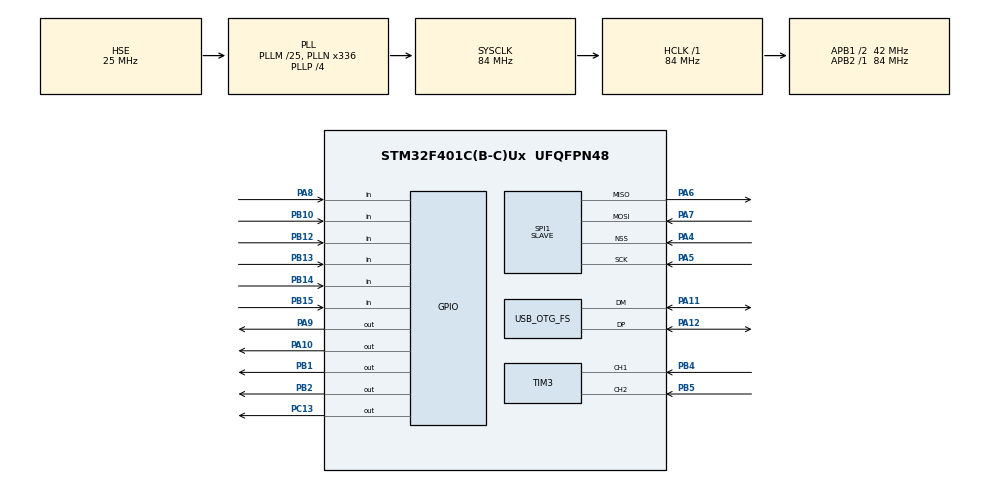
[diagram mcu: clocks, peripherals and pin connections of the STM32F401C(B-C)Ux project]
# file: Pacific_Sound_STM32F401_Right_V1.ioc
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Mcu.Family=STM32F4
Mcu.Name=STM32F401C(B-C)Ux
Mcu.Package=UFQFPN48
NVIC.OTG_FS_IRQn=true\:0\:0\:false\:false\:true\:false\:true
NVIC.PriorityGroup=NVIC_PRIORITYGROUP_4
NVIC.TIM3_IRQn=true\:0\:0\:false\:false\:true\:true\:true
PA10.Signal=GPIO_Output
PA11.Mode=Device_Only
PA11.Signal=USB_OTG_FS_DM
PA12.Mode=Device_Only
PA12.Signal=USB_OTG_FS_DP
PA4.Mode=NSS_Signal_Hard_Input
PA4.Signal=SPI1_NSS
PA5.Mode=Full_Duplex_Slave
PA5.Signal=SPI1_SCK
PA6.Mode=Full_Duplex_Slave
PA6.Signal=SPI1_MISO
PA7.Mode=Full_Duplex_Slave
PA7.Signal=SPI1_MOSI
PA8.GPIO_PuPd=GPIO_PULLUP
PA8.Signal=GPIO_Input
PA9.Signal=GPIO_Output
PB1.Signal=GPIO_Output
PB10.GPIO_PuPd=GPIO_PULLUP
PB10.Signal=GPIO_Input
PB12.GPIO_PuPd=GPIO_PULLUP
PB12.Signal=GPIO_Input
PB13.GPIO_PuPd=GPIO_PULLUP
PB13.Signal=GPIO_Input
PB14.GPIO_PuPd=GPIO_PULLUP
PB14.Signal=GPIO_Input
PB15.GPIO_PuPd=GPIO_PULLUP
PB15.Signal=GPIO_Input
PB2.Signal=GPIO_Output
PB4.GPIO_PuPd=GPIO_PULLUP
PB4.Signal=S_TIM3_CH1
PB5.GPIO_PuPd=GPIO_PULLUP
PB5.Signal=S_TIM3_CH2
PC13-ANTI_TAMP.Signal=GPIO_Output
PC14-OSC32_IN.Mode=LSE-External-Oscillator
PC14-OSC32_IN.Signal=RCC_OSC32_IN
PC15-OSC32_OUT.Mode=LSE-External-Oscillator
PC15-OSC32_OUT.Signal=RCC_OSC32_OUT
PH0\ -\ OSC_IN.Mode=HSE-External-Oscillator
PH0\ -\ OSC_IN.Signal=RCC_OSC_IN
PH1\ -\ OSC_OUT.Mode=HSE-External-Oscillator
PH1\ -\ OSC_OUT.Signal=RCC_OSC_OUT
ProjectManager.HeapSize=0x200
ProjectManager.StackSize=0x400
ProjectManager.TargetToolchain=STM32CubeIDE
RCC.48MHZClocksFreq_Value=48000000
RCC.AHBFreq_Value=84000000
RCC.APB1CLKDivider=RCC_HCLK_DIV2
RCC.APB1Freq_Value=42000000
RCC.APB1TimFreq_Value=84000000
RCC.APB2Freq_Value=84000000
RCC.APB2TimFreq_Value=84000000
RCC.CortexFreq_Value=84000000
RCC.HCLKFreq_Value=84000000
RCC.HSE_VALUE=25000000
RCC.HSI_VALUE=16000000
RCC.PLLM=25
RCC.PLLN=336
RCC.PLLP=RCC_PLLP_DIV4
RCC.PLLQ=7
RCC.SYSCLKFreq_VALUE=84000000
RCC.SYSCLKSource=RCC_SYSCLKSOURCE_PLLCLK
RCC.VCOOutputFreq_Value=336000000
SH.S_TIM3_CH1.0=TIM3_CH1,Encoder_Interface
SH.S_TIM3_CH2.0=TIM3_CH2,Encoder_Interface
SPI1.Direction=SPI_DIRECTION_2LINES
SPI1.Mode=SPI_MODE_SLAVE
SPI1.VirtualNSS=VM_NSSHARD
SPI1.VirtualType=VM_SLAVE
TIM3.EncoderMode=TIM_ENCODERMODE_TI12
TIM3.IC1Filter=15
TIM3.IC1Prescaler=TIM_ICPSC_DIV1
TIM3.IC2Filter=15
TIM3.IC2Prescaler=TIM_ICPSC_DIV1
USB_DEVICE.CLASS_NAME_FS=HID
USB_DEVICE.PID_HID_FS=22316
USB_DEVICE.VirtualMode=Hid
USB_DEVICE.VirtualModeFS=Hid_FS
USB_OTG_FS.VirtualMode=Device_Only
VP_USB_DEVICE_VS_USB_DEVICE_HID_FS.Mode=HID_FS
board=custom

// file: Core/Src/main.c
/* USER CODE BEGIN Header */
/**
  ******************************************************************************
  * @file           : main.c
  * @brief          : Main program body
  ******************************************************************************
  * @attention
  *
  * <h2><center>&copy; Copyright (c) 2022 STMicroelectronics.
  * All rights reserved.</center></h2>
  *
  * This software component is licensed by ST under Ultimate Liberty license
  * SLA0044, the "License"; You may not use this file except in compliance with
  * the License. You may obtain a copy of the License at:
  *                             www.st.com/SLA0044
  *
  ******************************************************************************
  */
/* USER CODE END Header */
#include "main.h"
#include "usb_device.h"

/* USER CODE BEGIN Includes */
#include "usbd_hid.h"

/* USER CODE END Includes */

SPI_HandleTypeDef hspi1;

TIM_HandleTypeDef htim3;

/* USER CODE BEGIN PV */

//Storage for the encoder values. Counter 1 is the previous value
//Counter 2 is the present value. The enc1 count is incremented by the
// difference between counter 2 and counter 1 (can be negative).
uint32_t enc1_counter1 = 0x0;
uint32_t enc1_counter2 = 0x0;
int32_t enc1_count = 0x0;
//The encoder count will define how many key presses to send to the computer
//The MCU loop happens faster than the computer polling so there must be a delay.
//The key press is sent until the count increments up to the delay. Then the
//key release is also sent for enough times for the count to increment to 2x the
//delay
const uint16_t enc1_delay = 200;
const uint8_t enc_scaling = 2;
uint16_t enc_hold_count=0x0;

const uint16_t debounce = 10;

// This index is to be passed during the column and row scanning to keep track
// of which key is being checked
uint8_t vect_ind = 0x0;

// Initialize a vector for the keyboard
// This is the storage for how many cycles a key is logged as connected.
// This will be checked against the debounce count in order to determine that
// a key should be considered to be pressed.
uint16_t kb_count_vect[22]={0x0};

/* USER CODE END PV */

void SystemClock_Config(void);
static void MX_GPIO_Init(void);
static void MX_SPI1_Init(void);
static void MX_TIM3_Init(void);

/* USER CODE BEGIN 0 */

void HAL_TIM_IC_CaptureCallback(TIM_HandleTypeDef *htim){

	//Update the counter2 value.
	//this value will be compared against counter1 and if it is
	//different then the delta will be used to send keycodes for the
	//encoder and then counter1 will be sent to counter2 after the
	//the codes are sent

	// This callback function is triggered whenever there
	// is a change in the encoder value. There is no need to
	// poll the encoder.
	enc1_counter2 = __HAL_TIM_GET_COUNTER(htim);

}

void scan_cols(uint8_t row)
{

	// Row specified by rowInd is toggled. Scan through columns to check it any column is pulled low
	// diodes go from column to row. Rows are set low to toggle. Columns have a pull-up on to set them
	// high when there is no connection.

	//Check column 1
	if(HAL_GPIO_ReadPin(GPIOA,GPIO_PIN_8)!=GPIO_PIN_SET){
		kb_count_vect[vect_ind]+=1;
	}
	else{
		kb_count_vect[vect_ind]=0;
	}
	vect_ind+=1;

	//Check column 2
	if(HAL_GPIO_ReadPin(GPIOB,GPIO_PIN_10)!=GPIO_PIN_SET){
		kb_count_vect[vect_ind]+=1;
	}
	else{
		kb_count_vect[vect_ind]=0;
	}
	vect_ind+=1;

	//Check column 3
	if(HAL_GPIO_ReadPin(GPIOB,GPIO_PIN_15)!=GPIO_PIN_SET){
		kb_count_vect[vect_ind]+=1;
	}
	else{
		kb_count_vect[vect_ind]=0;
	}
	vect_ind+=1;

	//Check column 4
	if(HAL_GPIO_ReadPin(GPIOB,GPIO_PIN_14)!=GPIO_PIN_SET){
		kb_count_vect[vect_ind]+=1;
	}
	else{
		kb_count_vect[vect_ind]=0;
	}
	vect_ind+=1;

	// Row 3 only has 4 key spots so no need to check pin B12 or in B13 (Col 5 or Col 6)
	if(row<3){
		//Check column 5
		if(HAL_GPIO_ReadPin(GPIOB,GPIO_PIN_13)!=GPIO_PIN_SET){
			kb_count_vect[vect_ind]+=1;
		}
		else{
			kb_count_vect[vect_ind]=0;
		}
		vect_ind+=1;

		//Check column 6
		if(HAL_GPIO_ReadPin(GPIOB,GPIO_PIN_12)!=GPIO_PIN_SET){
			kb_count_vect[vect_ind]+=1;
		}
		else{
			kb_count_vect[vect_ind]=0;
		}
		vect_ind+=1;
	}

}

void scan_matrix(void)
{
	vect_ind = 0x0;
	// Key switch detection...
	// Trigger row 1 and scan columns
	HAL_GPIO_WritePin(GPIOB,GPIO_PIN_2,0);
	scan_cols(0);
	HAL_GPIO_WritePin(GPIOB,GPIO_PIN_2,1);

	// Trigger row 2 and scan columns
	HAL_GPIO_WritePin(GPIOA,GPIO_PIN_9,0);
	scan_cols(1);
	HAL_GPIO_WritePin(GPIOA,GPIO_PIN_9,1);

	// Trigger row 3 and scan columns
	HAL_GPIO_WritePin(GPIOB,GPIO_PIN_1,0);
	scan_cols(2);
	HAL_GPIO_WritePin(GPIOB,GPIO_PIN_1,1);

	// Trigger row 4 and scan columns
	HAL_GPIO_WritePin(GPIOA,GPIO_PIN_10,0);
	scan_cols(3);
	HAL_GPIO_WritePin(GPIOA,GPIO_PIN_10,1);

}

void update_keys(uint8_t *kbSPI_tx, uint8_t n_kbSPI){

	// The indices of the vector are sent instead of the keycodes.
	// This will allow the half that is connected to the computer
	// to interpret the keys (use layers etc.)
	//
	// In this function any key that has a count greater than
	// the debounce count will be considered to be a valid key press.
	// It will be added to the vector of indices that is keeping track
	// of which keys are pressed. This vector is limited in size to
	// 8 keys at once (8 keys per half maximum).
	// Even though this is larger than the number of key codes that can
	// be sent it seemed okay to have a little more space for keys
	// and then down select when the vectors are interpreted into
	// keycodes.
	// There is no rollover of keys (keys are not stored for future transmission
	// if there are too many keys pressed).

	uint8_t kb_ind;
	uint8_t ii;

	int32_t enc_delta;

	for( kb_ind=0; kb_ind<8; ++kb_ind){
		kbSPI_tx[kb_ind] = 0x0;
	}

	kb_ind=0;

	for( ii = 0; ii < 22; ++ii ){
		if(kb_count_vect[ii]>debounce){
			kb_count_vect[ii]=debounce+1; //prevent overrun of uint16 values
			// if there is space in the vector append the key
			if(kb_ind<8){
				kbSPI_tx[kb_ind]=ii+1;
				++kb_ind;
			}
		}
	}

	// Interpret the encoder signal if the value has changed.
	// The previous encoder value is stored in counter1 and the updated
	// values is in counter2. The difference is how many positions the
	// encoder has moved. The encoder wraps around at 65535 (only has values
	// from 0 to 65535) so if a value that is greater or less than a reasonable
	// delta is detected it means the encoder has gone lower than zero or
	// higher than 65535. So that number should be added or subtracted from
	// the delta.

	// In order to dampen the response the delta is divided by a scaling value.
	// This dampened delta is added to an encoder count that can be negative
	// or positive. This count is then used to sequentially add key indices
	// (either 23 or 24) to the vector of indices until the count returns back to zero.
	if(enc1_counter2!=enc1_counter1){
		enc_delta=(enc1_counter2-enc1_counter1);
		if(enc_delta>65000){
			enc_delta = enc_delta-65535;
		}
		else if(enc_delta<-65000){
			enc_delta = enc_delta+65536;
		}
		enc1_counter1=enc1_counter2;
		enc1_count = enc1_count+enc_delta/enc_scaling;
	}

	// If there is space in the vector of keycodes and the encoder count
	// is not zero then add the indice 23 or 24 to the set of key indices
	// This indice is held on for the number of cycles in enc1_delay and
	// then held off for the same number of cycles. If the code is turned
	// on and off too fast the computer will not interpret it so this
	// delay is necessary. Too long of a value for enc1_delay and the
	// encoder values will back up and the response will seem sluggish.
	// Too small of a value and the encoder key presses will not be
	// registered by the computer.
	if(kb_ind<n_kbSPI){
		if(enc1_count!=0){
			if(enc_hold_count<enc1_delay){
				++enc_hold_count;
				if(enc1_count<0){
					kbSPI_tx[kb_ind]=23;
					++kb_ind;
				}
				else{
					kbSPI_tx[kb_ind]=24;
					++kb_ind;
				}
			}
			else if(enc_hold_count<(enc1_delay+enc1_delay)){
				++enc_hold_count;

			}
			else{
				if(enc1_count<0){
					++enc1_count;
				}
				else{
					--enc1_count;
				}
				enc_hold_count=0x0;
			}

		}

	}

}

/* USER CODE END 0 */

int main(void)
{
  /* USER CODE BEGIN 1 */

  // Storage for the number of key indices for each half (tx and rx) and
  // the indices themselves.
  uint8_t n_kbSPI = 8;
  uint8_t kbSPI_tx[8]={0x0};
  uint8_t kbSPI_rx[8]={0x0}; // Unused as of now. If I want to allow for plugging in the USB to the right half this will be necessary.

  /* USER CODE END 1 */

  /* MCU Configuration--------------------------------------------------------*/

  /* Reset of all peripherals, Initializes the Flash interface and the Systick. */
  HAL_Init();

  /* Configure the system clock */
  SystemClock_Config();

  /* Initialize all configured peripherals */
  MX_GPIO_Init();
  MX_SPI1_Init();
  MX_TIM3_Init();
  MX_USB_DEVICE_Init();
  /* USER CODE BEGIN 2 */

  // Start the encoder timer interrupt
  HAL_TIM_Encoder_Start_IT(&htim3, TIM_CHANNEL_ALL);

  // Initialize all GPIO Output pins (rows) to 1
  // keys are interpreted as being pressed when
  // a row is set to low and the corresponding column
  // is detected as low. All columns have pullup
  // resistors enabled in the MCU so that they normally
  // detect high and are only pulled low by a key press
  // when the corresponding row is low.
  HAL_GPIO_WritePin(GPIOA,GPIO_PIN_9,1);
  HAL_GPIO_WritePin(GPIOA,GPIO_PIN_10,1);
  HAL_GPIO_WritePin(GPIOB,GPIO_PIN_1,1);
  HAL_GPIO_WritePin(GPIOB,GPIO_PIN_2,1);

  /* USER CODE END 2 */

  /* Infinite loop */
  while (1)
  {

    /* USER CODE BEGIN 3 */

    // Scan the matrix and increment the vector of keys for any
    // key that has been pressed. If a column is not pulled low
    // reset the count to zero for the corresponding key.
    scan_matrix();

	//HAL_GPIO_WritePin(GPIOC,GPIO_PIN_13,0);  // this just turns on the blue LED.

	// Update the vector of keys that are considered to be pressed
	// each number in the vector corresponds to the switch that is pressed
	update_keys(kbSPI_tx,n_kbSPI);

	// Send the data of the keys that are pressed on the other half.
	// This is a blocking function so it will wait for data to be sent.
	// This will also serve to regulate the loop execution timing of
	// this half since it likely will happen faster.
    HAL_SPI_Transmit(&hspi1,kbSPI_tx,8,10000);

    // Turn off the blue LED light on the development board
    HAL_GPIO_WritePin(GPIOC,GPIO_PIN_13,1);

  }
  /* USER CODE END 3 */
}

void SystemClock_Config(void)
{
  RCC_OscInitTypeDef RCC_OscInitStruct = {0};
  RCC_ClkInitTypeDef RCC_ClkInitStruct = {0};

  /** Configure the main internal regulator output voltage
  */
  __HAL_RCC_PWR_CLK_ENABLE();
  __HAL_PWR_VOLTAGESCALING_CONFIG(PWR_REGULATOR_VOLTAGE_SCALE2);
  /** Initializes the RCC Oscillators according to the specified parameters
  * in the RCC_OscInitTypeDef structure.
  */
  RCC_OscInitStruct.OscillatorType = RCC_OSCILLATORTYPE_HSE;
  RCC_OscInitStruct.HSEState = RCC_HSE_ON;
  RCC_OscInitStruct.PLL.PLLState = RCC_PLL_ON;
  RCC_OscInitStruct.PLL.PLLSource = RCC_PLLSOURCE_HSE;
  RCC_OscInitStruct.PLL.PLLM = 25;
  RCC_OscInitStruct.PLL.PLLN = 336;
  RCC_OscInitStruct.PLL.PLLP = RCC_PLLP_DIV4;
  RCC_OscInitStruct.PLL.PLLQ = 7;
  if (HAL_RCC_OscConfig(&RCC_OscInitStruct) != HAL_OK)
  {
    Error_Handler();
  }
  /** Initializes the CPU, AHB and APB buses clocks
  */
  RCC_ClkInitStruct.ClockType = RCC_CLOCKTYPE_HCLK|RCC_CLOCKTYPE_SYSCLK
                              |RCC_CLOCKTYPE_PCLK1|RCC_CLOCKTYPE_PCLK2;
  RCC_ClkInitStruct.SYSCLKSource = RCC_SYSCLKSOURCE_PLLCLK;
  RCC_ClkInitStruct.AHBCLKDivider = RCC_SYSCLK_DIV1;
  RCC_ClkInitStruct.APB1CLKDivider = RCC_HCLK_DIV2;
  RCC_ClkInitStruct.APB2CLKDivider = RCC_HCLK_DIV1;

  if (HAL_RCC_ClockConfig(&RCC_ClkInitStruct, FLASH_LATENCY_2) != HAL_OK)
  {
    Error_Handler();
  }
}

static void MX_SPI1_Init(void)
{

  /* SPI1 parameter configuration*/
  hspi1.Instance = SPI1;
  hspi1.Init.Mode = SPI_MODE_SLAVE;
  hspi1.Init.Direction = SPI_DIRECTION_2LINES;
  hspi1.Init.DataSize = SPI_DATASIZE_8BIT;
  hspi1.Init.CLKPolarity = SPI_POLARITY_LOW;
  hspi1.Init.CLKPhase = SPI_PHASE_1EDGE;
  hspi1.Init.NSS = SPI_NSS_HARD_INPUT;
  hspi1.Init.FirstBit = SPI_FIRSTBIT_MSB;
  hspi1.Init.TIMode = SPI_TIMODE_DISABLE;
  hspi1.Init.CRCCalculation = SPI_CRCCALCULATION_DISABLE;
  hspi1.Init.CRCPolynomial = 10;
  if (HAL_SPI_Init(&hspi1) != HAL_OK)
  {
    Error_Handler();
  }

}

static void MX_TIM3_Init(void)
{

  TIM_Encoder_InitTypeDef sConfig = {0};
  TIM_MasterConfigTypeDef sMasterConfig = {0};

  htim3.Instance = TIM3;
  htim3.Init.Prescaler = 0;
  htim3.Init.CounterMode = TIM_COUNTERMODE_UP;
  htim3.Init.Period = 65535;
  htim3.Init.ClockDivision = TIM_CLOCKDIVISION_DIV1;
  htim3.Init.AutoReloadPreload = TIM_AUTORELOAD_PRELOAD_DISABLE;
  sConfig.EncoderMode = TIM_ENCODERMODE_TI12;
  sConfig.IC1Polarity = TIM_ICPOLARITY_RISING;
  sConfig.IC1Selection = TIM_ICSELECTION_DIRECTTI;
  sConfig.IC1Prescaler = TIM_ICPSC_DIV1;
  sConfig.IC1Filter = 15;
  sConfig.IC2Polarity = TIM_ICPOLARITY_RISING;
  sConfig.IC2Selection = TIM_ICSELECTION_DIRECTTI;
  sConfig.IC2Prescaler = TIM_ICPSC_DIV1;
  sConfig.IC2Filter = 15;
  if (HAL_TIM_Encoder_Init(&htim3, &sConfig) != HAL_OK)
  {
    Error_Handler();
  }
  sMasterConfig.MasterOutputTrigger = TIM_TRGO_RESET;
  sMasterConfig.MasterSlaveMode = TIM_MASTERSLAVEMODE_DISABLE;
  if (HAL_TIMEx_MasterConfigSynchronization(&htim3, &sMasterConfig) != HAL_OK)
  {
    Error_Handler();
  }

}

static void MX_GPIO_Init(void)
{
  GPIO_InitTypeDef GPIO_InitStruct = {0};

  /* GPIO Ports Clock Enable */
  __HAL_RCC_GPIOC_CLK_ENABLE();
  __HAL_RCC_GPIOH_CLK_ENABLE();
  __HAL_RCC_GPIOA_CLK_ENABLE();
  __HAL_RCC_GPIOB_CLK_ENABLE();

  /*Configure GPIO pin Output Level */
  HAL_GPIO_WritePin(GPIOC, GPIO_PIN_13, GPIO_PIN_RESET);

  /*Configure GPIO pin Output Level */
  HAL_GPIO_WritePin(GPIOB, GPIO_PIN_1|GPIO_PIN_2, GPIO_PIN_RESET);

  /*Configure GPIO pin Output Level */
  HAL_GPIO_WritePin(GPIOA, GPIO_PIN_9|GPIO_PIN_10, GPIO_PIN_RESET);

  /*Configure GPIO pin : PC13 */
  GPIO_InitStruct.Pin = GPIO_PIN_13;
  GPIO_InitStruct.Mode = GPIO_MODE_OUTPUT_PP;
  GPIO_InitStruct.Pull = GPIO_NOPULL;
  GPIO_InitStruct.Speed = GPIO_SPEED_FREQ_LOW;
  HAL_GPIO_Init(GPIOC, &GPIO_InitStruct);

  /*Configure GPIO pins : PB1 PB2 */
  GPIO_InitStruct.Pin = GPIO_PIN_1|GPIO_PIN_2;
  GPIO_InitStruct.Mode = GPIO_MODE_OUTPUT_PP;
  GPIO_InitStruct.Pull = GPIO_NOPULL;
  GPIO_InitStruct.Speed = GPIO_SPEED_FREQ_LOW;
  HAL_GPIO_Init(GPIOB, &GPIO_InitStruct);

  /*Configure GPIO pins : PB10 PB12 PB13 PB14
                           PB15 */
  GPIO_InitStruct.Pin = GPIO_PIN_10|GPIO_PIN_12|GPIO_PIN_13|GPIO_PIN_14
                          |GPIO_PIN_15;
  GPIO_InitStruct.Mode = GPIO_MODE_INPUT;
  GPIO_InitStruct.Pull = GPIO_PULLUP;
  HAL_GPIO_Init(GPIOB, &GPIO_InitStruct);

  /*Configure GPIO pin : PA8 */
  GPIO_InitStruct.Pin = GPIO_PIN_8;
  GPIO_InitStruct.Mode = GPIO_MODE_INPUT;
  GPIO_InitStruct.Pull = GPIO_PULLUP;
  HAL_GPIO_Init(GPIOA, &GPIO_InitStruct);

  /*Configure GPIO pins : PA9 PA10 */
  GPIO_InitStruct.Pin = GPIO_PIN_9|GPIO_PIN_10;
  GPIO_InitStruct.Mode = GPIO_MODE_OUTPUT_PP;
  GPIO_InitStruct.Pull = GPIO_NOPULL;
  GPIO_InitStruct.Speed = GPIO_SPEED_FREQ_LOW;
  HAL_GPIO_Init(GPIOA, &GPIO_InitStruct);

}

void Error_Handler(void)
{
  __disable_irq();
  while (1)
  {
  }
}

/************************ (C) COPYRIGHT STMicroelectronics *****END OF FILE****/
